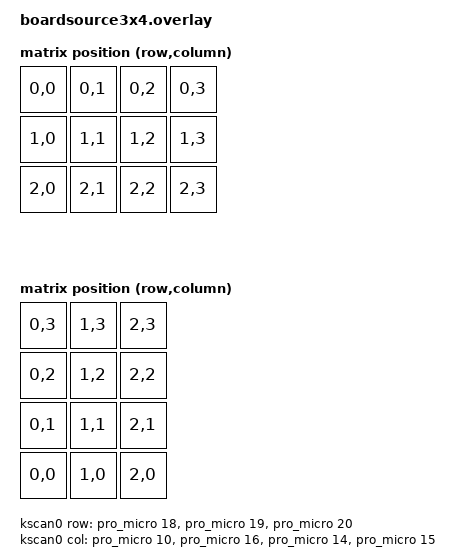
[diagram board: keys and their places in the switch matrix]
/*
 * Copyright (c) 2025 The ZMK Contributors
 *
 * SPDX-License-Identifier: MIT
 */

#include <dt-bindings/zmk/matrix_transform.h>
#include "boardsource3x4-layouts.dtsi"


&horizontal_physical_layout {
    transform = <&horizontal_transform>;
};
&vertical_physical_layout {
    transform = <&vertical_transform>;
};

/ {
    chosen {
        zmk,kscan = &kscan0;
        zmk,physical-layout = &horizontal_physical_layout;
    };

    horizontal_transform: horizontal_transform {
        compatible = "zmk,matrix-transform";
        columns = <4>;
        rows = <3>;
        map = <
            RC(0,0) RC(0,1) RC(0,2) RC(0,3)
            RC(1,0) RC(1,1) RC(1,2) RC(1,3)
            RC(2,0) RC(2,1) RC(2,2) RC(2,3)
            >;
    };

    vertical_transform: vertical_transform {
        compatible = "zmk,matrix-transform";
        columns = <4>;
        rows = <3>;
        map = <
            RC(0,3) RC(1,3) RC(2,3)
            RC(0,2) RC(1,2) RC(2,2)
            RC(0,1) RC(1,1) RC(2,1)
            RC(0,0) RC(1,0) RC(2,0)
            >;
    };

    kscan0: kscan {
        compatible = "zmk,kscan-gpio-matrix";
        wakeup-source;

        diode-direction = "col2row";

         row-gpios
            = <&pro_micro 18 (GPIO_ACTIVE_HIGH | GPIO_PULL_DOWN)>
            , <&pro_micro 19 (GPIO_ACTIVE_HIGH | GPIO_PULL_DOWN)>
            , <&pro_micro 20 (GPIO_ACTIVE_HIGH | GPIO_PULL_DOWN)>
            ;

        col-gpios
            = <&pro_micro 10 GPIO_ACTIVE_HIGH>
            , <&pro_micro 16 GPIO_ACTIVE_HIGH>
            , <&pro_micro 14 GPIO_ACTIVE_HIGH>
            , <&pro_micro 15 GPIO_ACTIVE_HIGH>
            ;
    };
};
